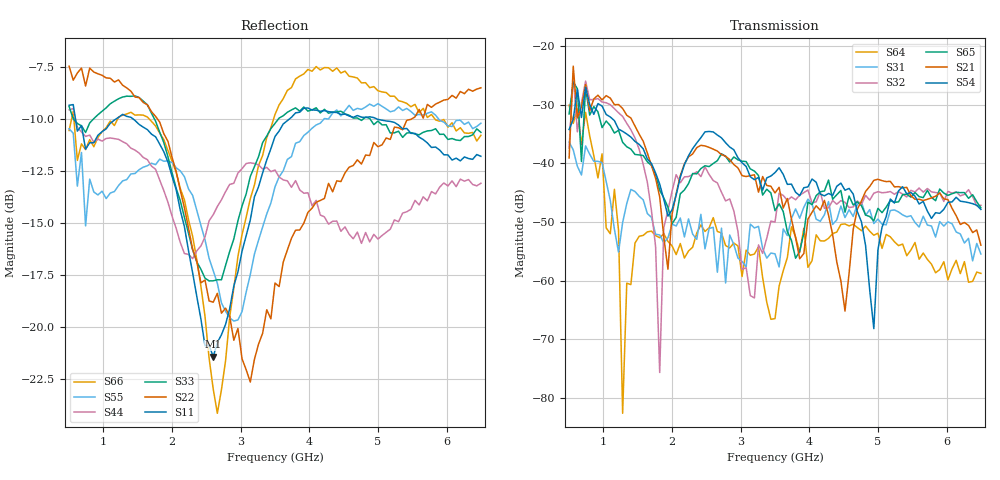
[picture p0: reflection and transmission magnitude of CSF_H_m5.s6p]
!Keysight Technologies,M9804A,MY58100912,A.14.10.03
!Date: Thursday, April 27, 2023 10:28:33
!Correction: S11(C  6-Port  )
!S12(C  6-Port  )
!S13(C  6-Port  )
!S14(C  6-Port  )
!S15(C  6-Port  )
!S16(C  6-Port  )
!S21(C  6-Port  )
!S22(C  6-Port  )
!S23(C  6-Port  )
!S24(C  6-Port  )
!S25(C  6-Port  )
!S26(C  6-Port  )
!S31(C  6-Port  )
!S32(C  6-Port  )
!S33(C  6-Port  )
!S34(C  6-Port  )
!S35(C  6-Port  )
!S36(C  6-Port  )
!S41(C  6-Port  )
!S42(C  6-Port  )
!S43(C  6-Port  )
!S44(C  6-Port  )
!S45(C  6-Port  )
!S46(C  6-Port  )
!S51(C  6-Port  )
!S52(C  6-Port  )
!S53(C  6-Port  )
!S54(C  6-Port  )
!S55(C  6-Port  )
!S56(C  6-Port  )
!S61(C  6-Port  )
!S62(C  6-Port  )
!S63(C  6-Port  )
!S64(C  6-Port  )
!S65(C  6-Port  )
!S66(C  6-Port  )
!S6P File: Measurement: :
# Hz S  RI  R 50
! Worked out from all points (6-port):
!   101 points, 500 MHz to 6.5 GHz, reference 50 ohm
!   strongest paths, dB at 500 MHz, 2 GHz, 3.5 GHz, 5 GHz, 6.5 GHz:
!     S54: -34.2, -47.9, -41.6, -54.7, -47.9
!     S21: -39.1, -48.7, -45.1, -42.7, -54.0
!     S65: -31.6, -50.3, -48.1, -47.7, -47.6
!     S32: -37.4, -44.8, -50.0, -44.8, -47.2
!     S31: -36.4, -50.4, -55.4, -49.5, -55.5
!     S64: -30.1, -54.1, -66.5, -51.9, -58.8
!   lowest |S11| = -21.4 dB at 2.6 GHz (marker M1), VSWR 1.19, Z = 42.5 + j2.15 ohm
!   |S11| at or under -10 dB: 591.8 MHz to 1.19 GHz (598.6 MHz wide, 67.2 % of centre); 1.426 GHz to 3.715 GHz (2.289 GHz wide, 89 % of centre); 4.975 GHz to end of sweep
